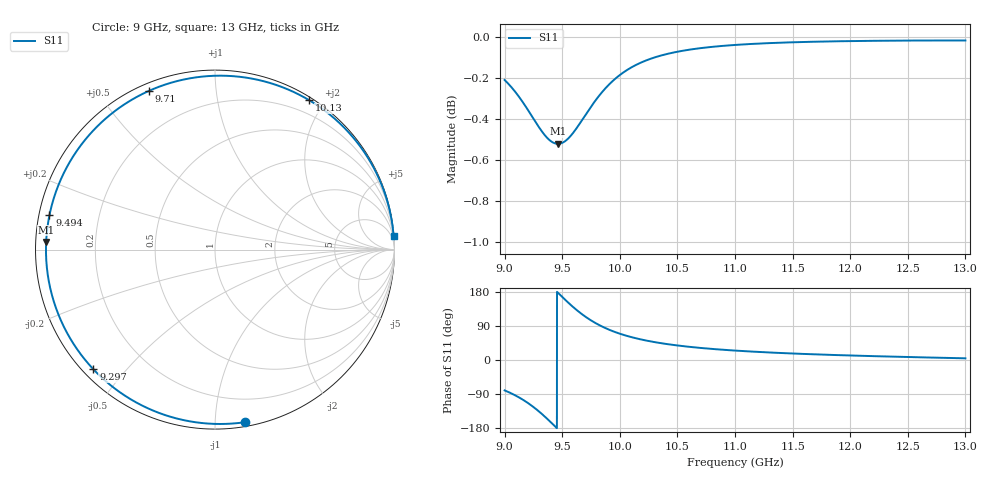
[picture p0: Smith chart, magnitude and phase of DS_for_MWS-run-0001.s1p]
! TOUCHSTONE file generated by CST DESIGN STUDIO
! Date and time: Tue Feb  4 12:48:56 2025
! Project name: C:\Work\MatlabApps\UnitCellOptimizationMatlab\CST\unitcell.cst
! Tree item: Tasks\Sweep1\SPara1\S-Parameters
! Header version: 2024
! Port assignment regex: !\s*Touchstone port\s*([0-9]+)\s*=\s*(CST MWS port|CST DES external port|CST DES block port)\s*(.+)\s* \(\"(.*)\"\)(\s*mode\s*([0-9]+))?.*
! Touchstone port assignment:
! Touchstone port 1 = CST DES external port 1 ("")
# GHz S MA R 50
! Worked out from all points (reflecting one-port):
!   4001 points, 9 GHz to 13 GHz, reference 50 ohm
!   lowest |S11| = -0.5 dB at 9.463 GHz (marker M1), VSWR 33.32, Z = 1.5 + j1.12 ohm
!   phase of S11 starts at -80 deg and turns -275 deg over the sweep
!   S11 on the Smith chart (normalised r, x): 9 GHz: 0.03, -1.19; 9.297 GHz: 0.03, -0.41; 9.494 GHz: 0.03, +0.10; 9.71 GHz: 0.03, +0.67; 10.13 GHz: 0.03, +1.81; 13 GHz: 1, +26
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9  0.976 -80.2
9.093  0.9695 -93.4
9.167  0.9631 -106.4
9.234  0.9567 -120.3
9.297  0.9506 -135.5
9.34  0.947 -146.9
9.386  0.9439 -159.8
9.425  0.9423 -171.3
9.463  0.9417 177.4
9.494  0.9421 168.2
9.5  0.9422 166.4
9.55  0.9444 152.0
9.607  0.9485 136.6
9.658  0.953 124.0
9.71  0.9578 112.5
9.767  0.963 101.4
9.831  0.9682 90.7
9.914  0.974 79.1
10  0.9787 69.4
10.133  0.984 57.9
10.298  0.9883 47.4
10.5  0.9915 38.4
10.723  0.9937 31.2
11  0.9953 24.9
11.5  0.9968 17.1
12  0.9975 11.9
12.5  0.9978 7.9
13  0.9978 4.5
